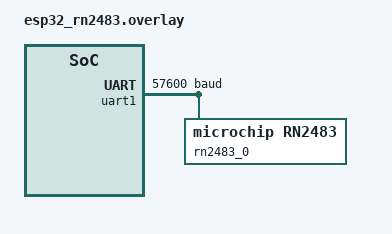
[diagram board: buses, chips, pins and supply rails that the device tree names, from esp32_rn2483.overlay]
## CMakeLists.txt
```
# SPDX-License-Identifier: Apache-2.0

cmake_minimum_required(VERSION 3.20.0)
find_package(Zephyr REQUIRED HINTS $ENV{ZEPHYR_BASE})
project(rn2483_poc)

target_sources(app PRIVATE src/main.c)
```

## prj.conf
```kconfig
CONFIG_LORA=y
CONFIG_LORA_RN2483=y
CONFIG_LOG=y
CONFIG_SERIAL=y
```

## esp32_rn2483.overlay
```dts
/*
 * Prova de conceito: declara um RN2483 no UART1 do esp32_devkitc_wroom
 * (pinos já definidos ao nível da board; aqui só se ativa e ajusta a
 * velocidade para os 57600 baud que o RN2483 espera).
 */
/ {
	aliases {
		lora0 = &rn2483_0;
	};
};

&uart1 {
	status = "okay";
	current-speed = <57600>;

	rn2483_0: rn2483_0 {
		compatible = "microchip,rn2483";
		status = "okay";
	};
};
```

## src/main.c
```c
/*
 * Origem: escrito de raiz nesta colaboração (Claude), não copiado de
 * nenhum repositório.
 *
 * Prova de conceito do driver out-of-tree para o RN2483 (secção 9.4 do
 * relatório). Sem o módulo físico ligado, esta aplicação valida que o
 * driver compila, regista o dispositivo via devicetree, e é corretamente
 * chamado pela mesma API de LoRa (lora_config()/lora_send()) usada por
 * qualquer transcetor nativo do Zephyr - não valida a comunicação real.
 */

#include <zephyr/kernel.h>
#include <zephyr/device.h>
#include <zephyr/drivers/lora.h>
#include <zephyr/sys/printk.h>

int main(void)
{
	const struct device *const rn2483 = DEVICE_DT_GET(DT_ALIAS(lora0));

	if (!device_is_ready(rn2483)) {
		printk("RN2483 nao pronto (esperado sem hardware fisico ligado)\n");
	} else {
		printk("RN2483 pronto\n");
	}

	struct lora_modem_config config = {
		.frequency = 868100000,
		.bandwidth = BW_125_KHZ,
		.datarate = SF_7,
		.coding_rate = CR_4_5,
		.preamble_len = 8,
		.tx_power = 14,
		.tx = true,
	};

	int err = lora_config(rn2483, &config);

	if (err) {
		printk("lora_config falhou: %d\n", err);
	}

	while (1) {
		uint8_t payload[] = {0x01, 0x02, 0x03, 0x04};

		err = lora_send(rn2483, payload, sizeof(payload));
		if (err) {
			printk("lora_send falhou: %d\n", err);
		} else {
			printk("lora_send OK\n");
		}

		k_sleep(K_SECONDS(10));
	}

	return 0;
}
```
